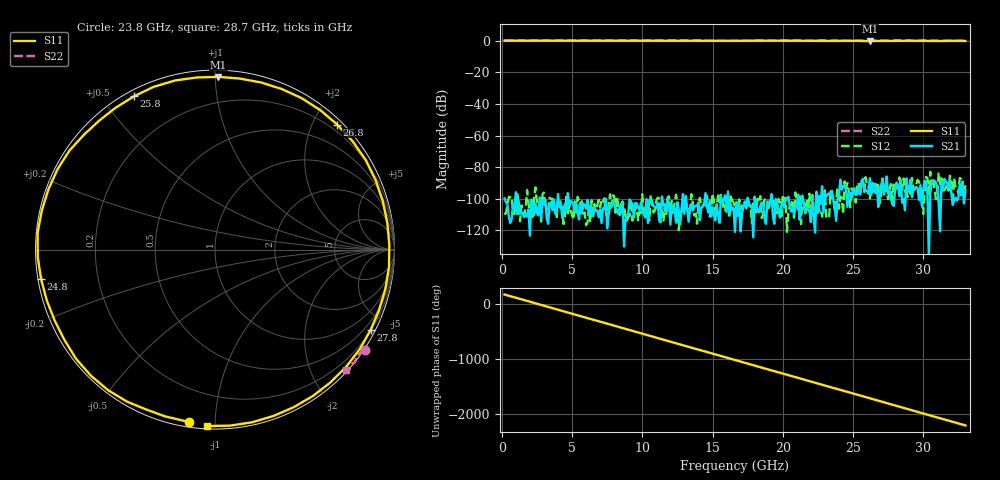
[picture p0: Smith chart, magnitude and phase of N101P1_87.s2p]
# GHZ S RI R 50
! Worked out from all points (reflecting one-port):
!   329 points, 200 MHz to 33 GHz, reference 50 ohm
!   lowest |S11| = -0.3 dB at 26.2 GHz (marker M1), VSWR 52.52, Z = 1.94 + j50.9 ohm
!   phase of S11 starts at 165 deg and turns -2368 deg over the sweep
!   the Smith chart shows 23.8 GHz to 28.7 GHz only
!   S11 on the Smith chart (normalised r, x): 23.8 GHz: 0.03, -0.86; 24.8 GHz: 0.01, -0.08; 25.8 GHz: 0.02, +0.60; 26.8 GHz: 0.09, +2.37; 27.8 GHz: 0.22, -4.11; 28.7 GHz: 0.02, -0.96
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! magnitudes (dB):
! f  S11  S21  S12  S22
! 200 MHz  0.0  -99.7  -110.2  0.0
! 5.7 GHz  -0.1  -109.2  -101.5  0.0
! 11.2 GHz  -0.2  -113.6  -99.7  0.0
! 16.6 GHz  -0.2  -120.9  -105.0  -0.1
! 18.5 GHz  -0.1  -102.3  -112.2  0.0
! 22.1 GHz  -0.1  -98.2  -97.6  -0.1
! 22.9 GHz  -0.1  -108.8  -101.6  0.0
! 23.4 GHz  -0.1  -98.1  -95.4  -0.1
! 23.8 GHz  -0.3  -113.9  -100.9  0.0
! 24.8 GHz  -0.2  -96.2  -105.4  -0.1
! 25 GHz  -0.1  -94.3  -95.2  -0.1
! 25.8 GHz  -0.3  -94.1  -95.8  -0.1
! 26.2 GHz  -0.3  -87.0  -99.9  0.0
! 26.8 GHz  -0.2  -105.2  -89.8  0.0
! 27.6 GHz  -0.2  -95.1  -94.9  0.0
! 27.8 GHz  -0.2  -102.7  -103.3  0.0
! 28.7 GHz  -0.1  -107.2  -95.1  -0.1
! 29.6 GHz  -0.2  -93.4  -88.0  -0.1
! 30.3 GHz  -0.2  -97.4  -86.9  0.1
! 31.3 GHz  -0.3  -89.1  -87.0  -0.1
! 31.9 GHz  -0.1  -89.1  -85.4  -0.1
! 33 GHz  -0.3  -94.6  -91.4  -0.1
